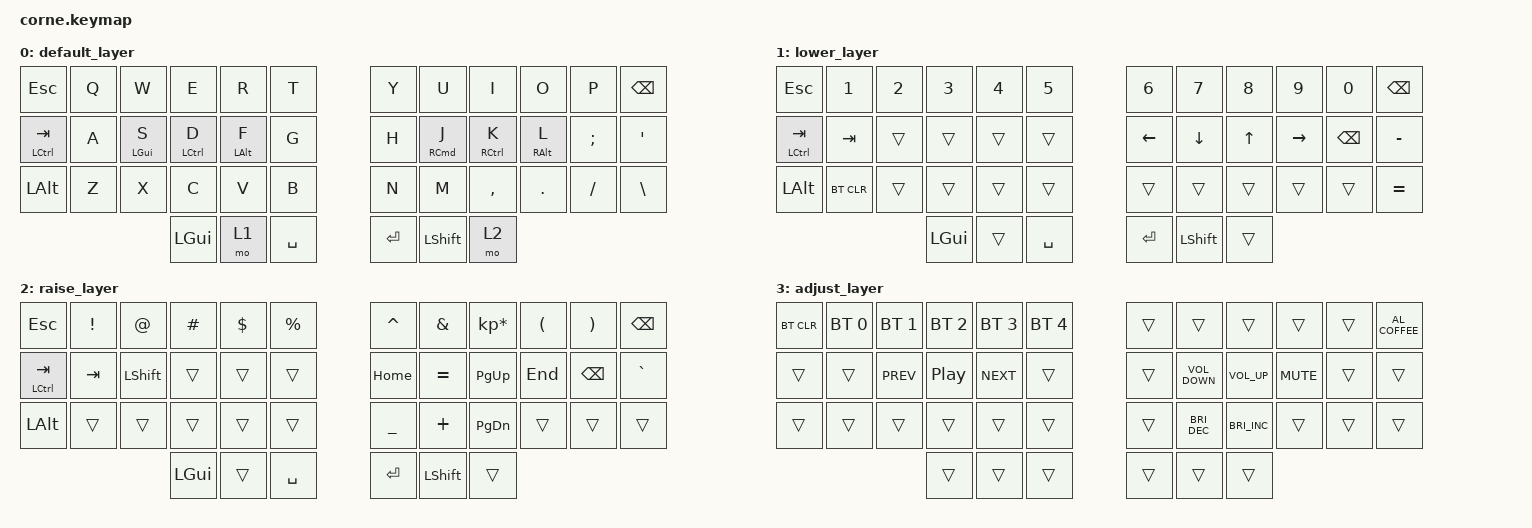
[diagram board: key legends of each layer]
/*
 * Copyright (c) 2020 The ZMK Contributors
 *
 * SPDX-License-Identifier: MIT
 */

#include <behaviors.dtsi>
#include <dt-bindings/zmk/keys.h>
#include <dt-bindings/zmk/bt.h>

/ {
    conditional_layers {
        compatible = "zmk,conditional-layers";
        tri_layer {
            if-layers = <1 2>;
            then-layer = <3>;
        };
    };
    
    behaviors {
        am: alpha_mods {
            compatible = "zmk,behavior-hold-tap";
            label = "ALPHA_MT";
            #binding-cells = <2>;
            tapping-term-ms = <250>;
            quick-tap-ms = <150>;
            flavor = "tap-preferred";
            bindings = <&kp>, <&kp>;
        };
    };
      
    combos {
        compatible = "zmk,combos";

        lpar {
            bindings = <&kp LEFT_PARENTHESIS>;
            key-positions = <19 20>;
            timeout-ms = <25>;
            layers = <0>;
        };

        rpar {
            bindings = <&kp RIGHT_PARENTHESIS>;
            key-positions = <20 21>;
            timeout-ms = <25>;
            layers = <0>;
        };

        lbrack {
            bindings = <&kp LEFT_BRACKET>;
            key-positions = <31 20>;
            timeout-ms = <25>;
            layers = <0>;
        };

        rbrack {
            bindings = <&kp RIGHT_BRACKET>;
            key-positions = <33 20>;
            timeout-ms = <25>;
            layers = <0>;
        };

        lbrace {
            bindings = <&kp LEFT_BRACE>;
            key-positions = <8 19>;
            timeout-ms = <25>;
            layers = <0>;
        };

        rbrace {
            bindings = <&kp RIGHT_BRACE>;
            key-positions = <8 21>;
            timeout-ms = <25>;
            layers = <0>;
        };

        minus {
            bindings = <&kp MINUS>;
            key-positions = <21 22>;
            timeout-ms = <25>;
            layers = <0>;
        };

        tilde {
            bindings = <&kp TILDE>;
            key-positions = <13 14>;
            timeout-ms = <25>;
            layers = <0>;
        };

        squot {
            bindings = <&kp SINGLE_QUOTE>;
            key-positions = <14 15>;
            timeout-ms = <25>;
            layers = <0>;
        };

        dquot {
            bindings = <&kp DOUBLE_QUOTES>;
            key-positions = <15 16>;
            timeout-ms = <25>;
            layers = <0>;
        };
    };

    keymap {
        compatible = "zmk,keymap";

        default_layer {
            bindings = <
       &kp ESC   &kp Q       &kp W        &kp E       &kp R      &kp T    &kp Y       &kp U        &kp I       &kp O     &kp P       &kp BSPC
 &mt LCTRL TAB   &kp A  &am LGUI S  &am LCTRL D  &am LALT F      &kp G    &kp H  &am RCMD J  &am RCTRL K  &am RALT L  &kp SEMI        &kp SQT
      &kp LALT   &kp Z       &kp X        &kp C       &kp V      &kp B    &kp N       &kp M    &kp COMMA     &kp DOT  &kp FSLH  &kp BACKSLASH
                                       &kp LGUI       &mo 1  &kp SPACE  &kp RET  &kp LSHIFT        &mo 2
            >;
        };

        lower_layer {
            bindings = <
       &kp ESC      &kp N1  &kp N2    &kp N3  &kp N4     &kp N5    &kp N6      &kp N7  &kp N8     &kp N9         &kp N0   &kp BSPC
 &mt LCTRL TAB     &kp TAB  &trans    &trans  &trans     &trans  &kp LEFT    &kp DOWN  &kp UP  &kp RIGHT  &kp BACKSPACE  &kp MINUS
      &kp LALT  &bt BT_CLR  &trans    &trans  &trans     &trans    &trans      &trans  &trans     &trans         &trans  &kp EQUAL
                                    &kp LGUI  &trans  &kp SPACE   &kp RET  &kp LSHIFT  &trans
            >;
        };

        raise_layer {
            bindings = <
       &kp ESC  &kp EXCL      &kp AT  &kp HASH  &kp DLLR  &kp PRCNT  &kp CARET    &kp AMPS  &kp KP_MULTIPLY  &kp LPAR  &kp RPAR   &kp BSPC
 &mt LCTRL TAB   &kp TAB  &kp LSHIFT    &trans    &trans     &trans   &kp HOME   &kp EQUAL        &kp PG_UP   &kp END  &kp BSPC  &kp GRAVE
      &kp LALT    &trans      &trans    &trans    &trans     &trans  &kp UNDER    &kp PLUS        &kp PG_DN    &trans    &trans     &trans
                                      &kp LGUI    &trans  &kp SPACE    &kp RET  &kp LSHIFT           &trans
            >;
        };

        adjust_layer {
            bindings = <
 &bt BT_CLR  &bt BT_SEL 0  &bt BT_SEL 1    &bt BT_SEL 2  &bt BT_SEL 3  &bt BT_SEL 4  &trans                &trans                &trans      &trans  &trans  &kp C_AL_COFFEE
     &trans        &trans  &kp C_PREV  &kp C_PLAY_PAUSE    &kp C_NEXT        &trans  &trans     &kp C_VOLUME_DOWN       &kp C_VOLUME_UP  &kp C_MUTE  &trans           &trans
     &trans        &trans      &trans            &trans        &trans        &trans  &trans  &kp C_BRIGHTNESS_DEC  &kp C_BRIGHTNESS_INC      &trans  &trans           &trans
                                               &trans      &trans      &trans  &trans                &trans                &trans
            >;
        };
    };
};
